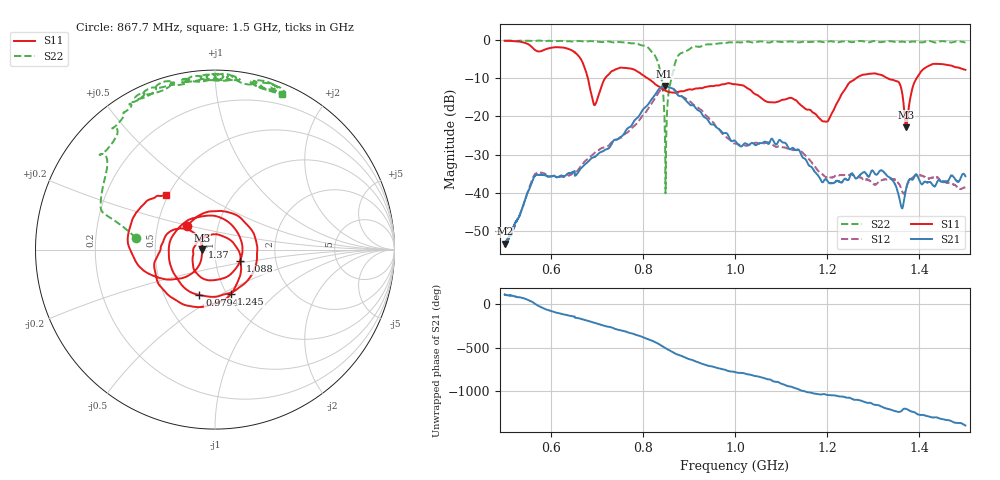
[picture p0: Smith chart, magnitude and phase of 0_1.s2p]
!Agilent Technologies,E8364B,US42250235,A.06.04.32
!Agilent E8364B: A.06.04.32
!Date: Thursday, October 01, 2020 13:11:59
!Correction: S11(Full 2 Port(1,2)) S21(Full 2 Port(1,2)) S12(Full 2 Port(1,2)) S22(Full 2 Port(1,2))
!S2P File: Measurements: S11, S21, S12, S22:
# Hz S  dB  R 50
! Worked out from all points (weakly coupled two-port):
!   2650 points, 500 MHz to 1.5 GHz, reference 50 ohm
!   highest |S21| = -12.02 dB at 847.3 MHz (marker M1); lowest = -53.4 dB at 500.8 MHz (marker M2)
!   lowest |S11| = -22.9 dB at 1.371 GHz (marker M3), VSWR 1.16, Z = 43.3 - j0.331 ohm
!   |S11| at or under -10 dB: 680.8 MHz to 717.9 MHz (37.13 MHz wide, 5.31 % of centre); 810.8 MHz to 1.262 GHz (451.5 MHz wide, 43.6 % of centre); 1.331 GHz to 1.394 GHz (62.78 MHz wide, 4.61 % of centre)
!   |S22| runs from -40.2 to 0.0 dB; largest |S21 - S12| = 0.11
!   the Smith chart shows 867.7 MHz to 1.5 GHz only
!   S11 on the Smith chart (normalised r, x): 867.7 MHz: 0.71, +0.19; 979.4 MHz: 0.75, -0.41; 1.088 GHz: 1.31, -0.18; 1.245 GHz: 1.04, -0.56; 1.37 GHz: 0.86, +0.03; 1.5 GHz: 0.49, +0.36
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5e8  -0.11 -175.2  -53.25 109.0  -53.95 103.0  -0.19 137.6
5.00755e8  -0.11 -175.6  -53.40 107.3  -54.08 100.5  -0.19 137.3
5.660627e8  -2.56 142.1  -35.62 2.3  -35.15 0.1  -0.18 131.8
6.279728e8  -1.91 102.9  -35.76 -119.3  -35.90 -123.2  -0.19 127.2
6.668554e8  -5.23 33.3  -33.48 -172.0  -32.90 -162.7  -0.26 123.6
6.94413e8  -17.00 -96.8  -30.68 144.4  -29.70 156.1  -0.29 119.1
7.12533e8  -11.34 157.9  -29.17 116.3  -28.23 124.7  -0.46 113.5
7.850132e8  -7.95 18.3  -20.65 6.5  -22.09 22.5  -0.80 97.3
8.337108e8  -12.07 -106.5  -12.99 -95.8  -13.81 -71.1  -6.15 51.5
8.473009e8  -13.12 -156.8  -12.02 -139.9  -12.43 -113.8  -21.88 31.3
8.676859e8  -13.76 140.1  -12.94 159.5  -12.90 -174.1  -7.05 171.6
9.250661e8  -12.54 1.9  -18.79 40.7  -18.17 63.1  -1.66 133.6
9.794262e8  -11.46 -109.0  -24.32 -35.9  -25.21 -21.6  -0.72 120.8
1.000189e9  -11.54 -151.1  -26.40 -61.9  -27.11 -39.5  -0.51 119.6
1.088146e9  -16.27 -25.2  -27.33 -171.9  -27.96 -152.1  -0.22 108.4
1.166667e9  -18.70 172.7  -33.35 59.7  -32.10 84.3  -0.41 99.1
1.245187e9  -11.60 -70.3  -36.72 5.4  -35.41 15.2  -0.29 94.6
1.333522e9  -10.15 -177.0  -35.89 -124.7  -36.50 -84.3  -0.24 83.9
1.37014e9  -22.42 166.7  -39.71 -121.1  -39.40 -111.0  -0.50 81.6
1.371272e9  -22.86 -177.0  -39.09 -122.5  -38.84 -110.9  -0.53 81.0
1.4094e9  -7.51 -165.0  -37.40 166.5  -35.79 -175.4  -0.49 70.9
1.5e9  -7.76 131.9  -35.69 46.9  -38.62 71.6  -0.53 66.8
